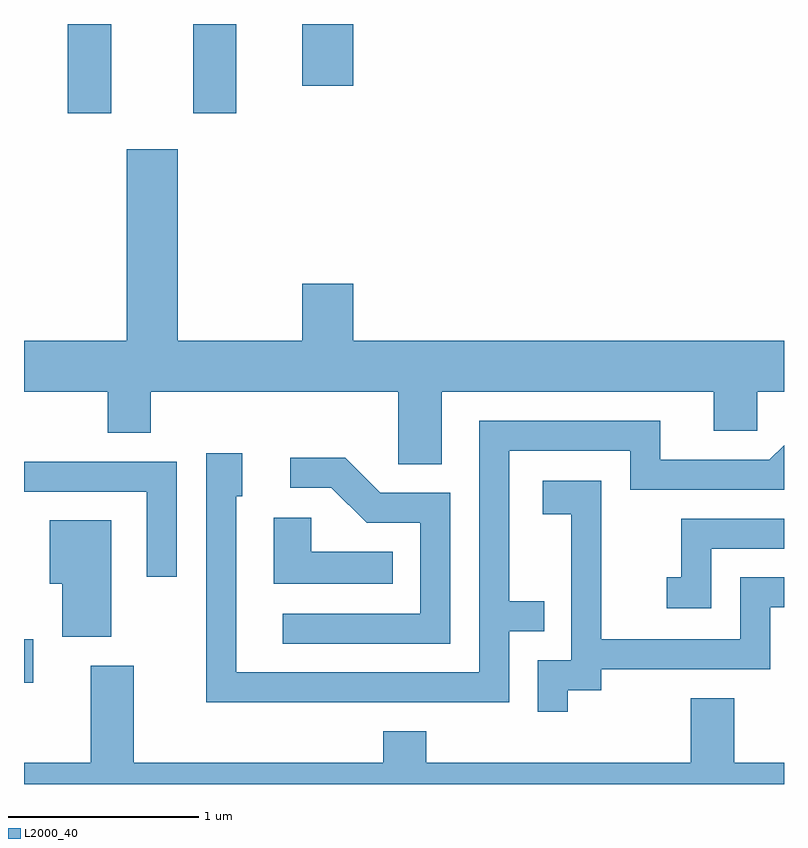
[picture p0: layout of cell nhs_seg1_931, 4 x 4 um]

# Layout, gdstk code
import gdstk
lib = gdstk.Library(unit=1e-6, precision=1e-09)
def R(c, l, rs):  # rectangles x0, y0, x1, y1
    for r in rs: c.add(gdstk.rectangle(r[:2], r[2:], *l))
def P(c, l, *ps):  # polygons
    for p in ps: c.add(gdstk.Polygon(p, *l))
L2000_40 = (2000, 40)

nhs_seg1_931 = lib.new_cell('nhs_seg1_931')
R(nhs_seg1_931, L2000_40, [(213.611,920.246,213.659,920.474), (213.841,923.241,214.069,923.712), (214.501,923.241,214.729,923.712), (215.076,923.386,215.344,923.712)])
P(nhs_seg1_931, L2000_40, [(215.809,921.776),(217.241,921.776),(217.241,921.571),(217.469,921.571),(217.469,921.776),(217.611,921.776),(217.611,922.044),(215.344,922.044),(215.344,922.344),(215.076,922.344),(215.076,922.044),(214.419,922.044),(214.419,923.054),(214.151,923.054),(214.151,922.044),(213.611,922.044),(213.611,921.776),(214.051,921.776),(214.051,921.561),(214.279,921.561),(214.279,921.776),(215.581,921.776),(215.581,921.396),(215.809,921.396)],
  [(216.164,920.516),(216.348,920.516),(216.348,920.674),(216.164,920.674),(216.164,921.466),(216.801,921.466),(216.801,921.261),(217.611,921.261),(217.611,921.496),(217.534,921.419),(216.959,921.419),(216.959,921.624),(216.006,921.624),(216.006,920.299),(214.729,920.299),(214.729,921.226),(214.759,921.226),(214.759,921.454),(214.571,921.454),(214.571,920.141),(216.164,920.141)],
  [(215.854,921.244),(215.487,921.244),(215.302,921.429),(215.013,921.429),(215.013,921.271),(215.229,921.271),(215.414,921.086),(215.696,921.086),(215.696,920.609),(214.973,920.609),(214.973,920.451),(215.854,920.451)],
  [(214.414,921.409),(213.611,921.409),(213.611,921.251),(214.256,921.251),(214.256,920.803),(214.414,920.803)],
  [(216.474,920.206),(216.649,920.206),(216.649,920.316),(217.539,920.316),(217.539,920.641),(217.611,920.641),(217.611,920.799),(217.381,920.799),(217.381,920.474),(216.649,920.474),(216.649,921.309),(216.341,921.309),(216.341,921.131),(216.491,921.131),(216.491,920.364),(216.316,920.364),(216.316,920.093),(216.474,920.093)],
  [(215.553,920.934),(215.124,920.934),(215.124,921.114),(214.926,921.114),(214.926,920.766),(215.553,920.766)],
  [(217.229,920.951),(217.611,920.951),(217.611,921.109),(217.071,921.109),(217.071,920.799),(216.993,920.799),(216.993,920.636),(217.229,920.636)],
  [(214.069,921.099),(213.746,921.099),(213.746,920.766),(213.811,920.766),(213.811,920.486),(214.069,920.486)],
  [(217.611,919.824),(217.349,919.824),(217.349,920.164),(217.121,920.164),(217.121,919.824),(215.729,919.824),(215.729,919.989),(215.501,919.989),(215.501,919.824),(214.189,919.824),(214.189,920.334),(213.961,920.334),(213.961,919.824),(213.611,919.824),(213.611,919.712),(217.611,919.712)])

lib.write_gds('nhs_seg1_931.gds')
